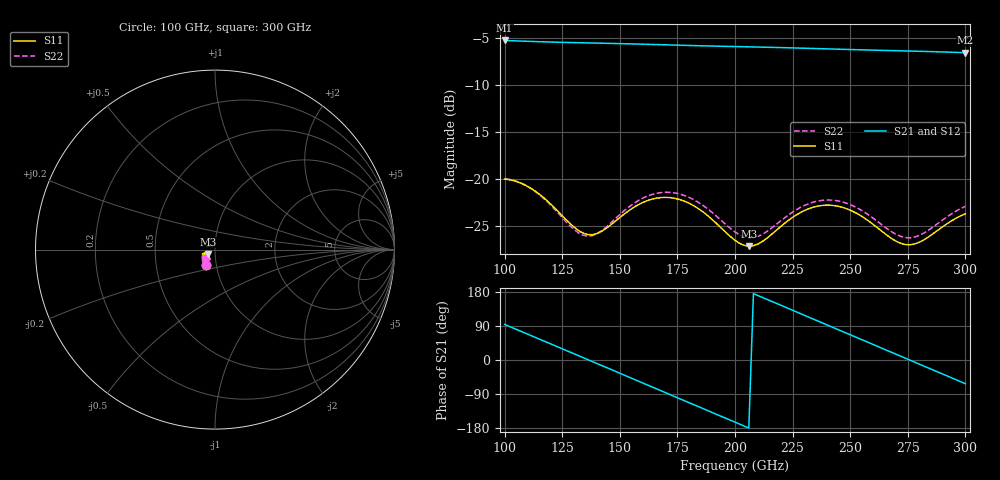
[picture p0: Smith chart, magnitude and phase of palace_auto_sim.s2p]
#  GHZ S DB R 50
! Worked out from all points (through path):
!   101 points, 100 GHz to 300 GHz, reference 50 ohm
!   highest |S21| = -5.30 dB at 100 GHz (marker M1); lowest = -6.6 dB at 300 GHz (marker M2)
!   group delay of S21, straight-line fit = 7.18 ps
!   lowest |S11| = -27.1 dB at 206 GHz (marker M3), VSWR 1.09, Z = 46.4 - j2.27 ohm
!   |S11| at or under -10 dB: start of sweep to end of sweep
!   |S22| runs from -26.3 to -20.0 dB; largest |S21 - S12| = 8.9e-13
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100  -20.02 -120.0  -5.30 93.9  -5.30 93.9  -19.97 -119.5
108  -20.56 -131.8  -5.38 73.3  -5.38 73.3  -20.55 -131.2
116  -21.81 -141.4  -5.44 52.7  -5.44 52.7  -21.88 -140.5
126  -24.16 -145.5  -5.51 27.0  -5.51 27.0  -24.37 -143.5
134  -25.76 -138.1  -5.55 6.5  -5.55 6.5  -25.98 -134.0
140  -25.82 -128.9  -5.58 -9.0  -5.58 -9.0  -25.85 -123.4
150  -24.11 -122.2  -5.64 -34.9  -5.64 -34.9  -23.79 -116.7
160  -22.51 -128.4  -5.70 -60.8  -5.70 -60.8  -22.04 -123.5
168  -21.98 -137.6  -5.75 -81.5  -5.75 -81.5  -21.46 -132.9
182  -22.84 -154.1  -5.85 -117.6  -5.85 -117.6  -22.20 -149.4
192  -24.75 -159.9  -5.91 -143.4  -5.91 -143.4  -23.97 -155.4
200  -26.53 -155.5  -5.95 -164.1  -5.95 -164.1  -25.64 -151.8
206  -27.15 -146.2  -5.98 -179.6  -5.98 -179.6  -26.27 -143.6
218  -25.45 -132.6  -6.05 149.4  -6.05 149.4  -24.82 -130.6
234  -23.01 -141.6  -6.15 107.9  -6.15 107.9  -22.47 -138.4
242  -22.81 -150.3  -6.21 87.3  -6.21 87.3  -22.26 -146.6
250  -23.32 -158.5  -6.27 66.6  -6.27 66.6  -22.74 -154.3
260  -24.84 -164.1  -6.33 40.8  -6.33 40.8  -24.19 -159.6
268  -26.34 -161.3  -6.38 20.2  -6.38 20.2  -25.62 -156.7
276  -27.00 -151.2  -6.43 -0.5  -6.43 -0.5  -26.26 -146.7
284  -26.16 -142.3  -6.48 -21.2  -6.48 -21.2  -25.45 -137.6
300  -23.72 -145.5  -6.60 -62.6  -6.60 -62.6  -22.93 -139.6
